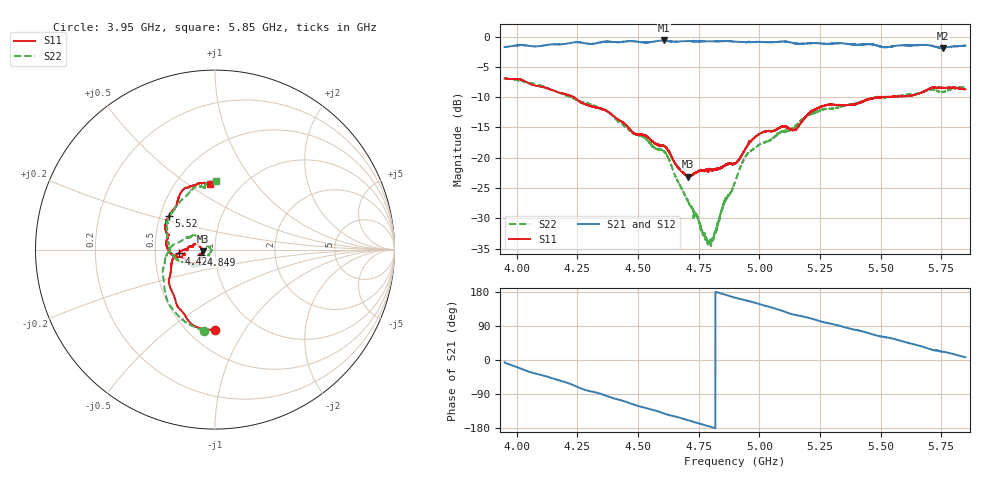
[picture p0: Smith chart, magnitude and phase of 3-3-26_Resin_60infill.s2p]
# GHZ S RI R 50.000000000000
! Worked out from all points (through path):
!   4501 points, 3.95 GHz to 5.85 GHz, reference 50 ohm
!   highest |S21| = -0.64 dB at 4.605 GHz (marker M1); lowest = -1.9 dB at 5.757 GHz (marker M2)
!   group delay of S21, straight-line fit = 502 ps
!   lowest |S11| = -23.1 dB at 4.707 GHz (marker M3), VSWR 1.15, Z = 43.5 - j0.736 ohm
!   |S11| at or under -10 dB: 4.235 GHz to 5.489 GHz (1.254 GHz wide, 25.8 % of centre); 5.489226 GHz to 5.493585 GHz (4.359 MHz wide, 0.0794 % of centre); 5.497506 GHz to 5.501664 GHz (4.158 MHz wide, 0.0756 % of centre)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
!   |S22| runs from -34.6 to -6.8 dB; largest |S21 - S12| = 0.064
!   S11 on the Smith chart (normalised r, x): 3.95 GHz: 0.66, -0.75; 4.424 GHz: 0.66, -0.03; 4.849 GHz: 0.85, -0.05; 5.52 GHz: 0.56, +0.23; 5.85 GHz: 0.73, +0.61
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3.95  -0.000414 -0.4505  0.8146 -0.0827  0.8013 -0.1069  -0.0619 -0.4524
4.019667  -0.1189 -0.4242  0.7814 -0.3375  0.7901 -0.3239  -0.1838 -0.389
4.1362  -0.2166 -0.2957  0.5971 -0.614  0.5939 -0.6038  -0.2748 -0.2454
4.267089  -0.2483 -0.138  0.2224 -0.8634  0.2374 -0.8688  -0.2799 -0.0712
4.423733  -0.2028 -0.0214  -0.2371 -0.8666  -0.2091 -0.8757  -0.1901 0.0471
4.583756  -0.1269 0.0158  -0.662 -0.6418  -0.6287 -0.6652  -0.0964 0.0653
4.605289  -0.125 0.0218  -0.7195 -0.587  -0.6886 -0.6173  -0.094 0.0656
4.707467  -0.0694 -0.00841  -0.8583 -0.3264  -0.8449 -0.3502  -0.0369 0.0209
4.794444  -0.0749 -0.0275  -0.9107 -0.0751  -0.9047 -0.1012  -0.0199 -0.00242
4.815978  -0.0763 -0.0259  -0.9142 -0.00853  -0.9103 -0.0359  -0.0211 -0.00902
4.848911  -0.079 -0.0277  -0.9127 0.0899  -0.9115 0.0547  -0.0301 -0.0252
4.9  -0.0836 -0.0348  -0.8751 0.2424  -0.8866 0.209  -0.0391 -0.0497
4.958689  -0.1095 -0.0742  -0.8155 0.3782  -0.8269 0.3484  -0.0729 -0.0843
5.118711  -0.1746 -0.0249  -0.5071 0.7445  -0.5515 0.7209  -0.1529 -0.0707
5.149956  -0.1682 -0.0304  -0.4207 0.767  -0.4538 0.7504  -0.1691 -0.0707
5.217089  -0.2415 -0.0267  -0.2876 0.8348  -0.3284 0.8104  -0.2286 -0.0402
5.339111  -0.2626 0.0706  0.0184 0.8804  0.00322 0.88  -0.2603 0.0417
5.519822  -0.2555 0.1885  0.4042 0.7096  0.3687 0.7352  -0.238 0.2071
5.533756  -0.2499 0.1954  0.4257 0.7012  0.3876 0.7224  -0.2308 0.2149
5.688711  -0.1997 0.3004  0.7231 0.452  0.6909 0.4961  -0.1286 0.3334
5.757111  -0.1181 0.357  0.748 0.302  0.7291 0.3473  -0.0584 0.3423
5.85  -0.0279 0.3658  0.8348 0.1026  0.8238 0.151  0.00674 0.3815
